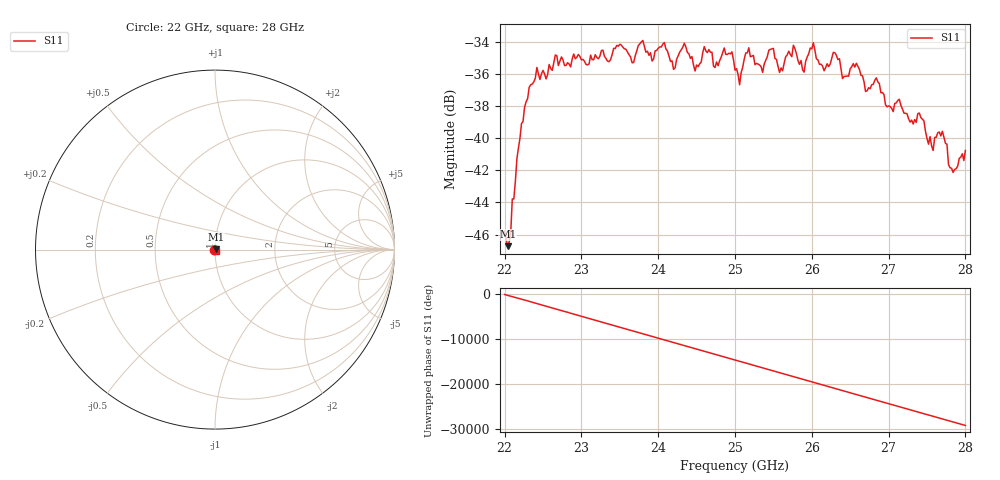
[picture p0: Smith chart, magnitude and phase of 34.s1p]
#  HZ  S  RI  R  50.00
! Rohde & Schwarz ZVA40 4Ports - Version 3.90 - 1145.1110k42 SN: 100403
! Date: 2023-10-04 10:35:12
! Measurement: S12
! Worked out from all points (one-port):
!   301 points, 22 GHz to 28 GHz, reference 50 ohm
!   lowest |S11| = -46.7 dB at 22.04 GHz (marker M1), VSWR 1.01, Z = 50.4 + j0.206 ohm
!   |S11| at or under -10 dB: start of sweep to end of sweep
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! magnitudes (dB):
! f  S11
! 22 GHz  -45.8
! 22.04 GHz  -46.7
! 22.22 GHz  -39.1
! 22.32 GHz  -36.8
! 22.76 GHz  -35.1
! 23.5 GHz  -34.2
! 24.26 GHz  -34.9
! 24.34 GHz  -34.1
! 24.48 GHz  -35.8
! 24.86 GHz  -34.4
! 25 GHz  -35.8
! 25.06 GHz  -36.7
! 25.18 GHz  -34.4
! 25.36 GHz  -35.9
! 25.5 GHz  -34.4
! 25.58 GHz  -35.9
! 25.76 GHz  -34.2
! 25.9 GHz  -35.9
! 26.02 GHz  -34.1
! 26.16 GHz  -35.8
! 26.28 GHz  -34.7
! 26.5 GHz  -35.7
! 27.26 GHz  -38.8
! 27.4 GHz  -38.4
! 27.58 GHz  -40.8
! 27.7 GHz  -39.6
! 27.84 GHz  -42.1
! 28 GHz  -40.8
